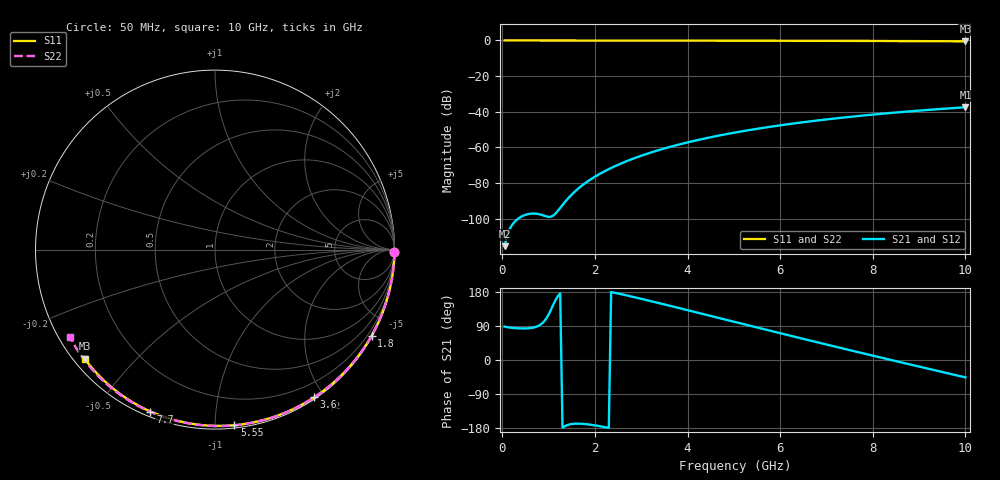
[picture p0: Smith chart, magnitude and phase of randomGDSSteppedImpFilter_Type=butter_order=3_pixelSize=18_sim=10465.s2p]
! freq	dB(S11)	phase(S11)	dB(S12)	phase(S12)
!  dB(S21)	phase(S21)	dB(S22)	phase(S22)
!S-par simulation data
#  GHz  S  DB  R 50
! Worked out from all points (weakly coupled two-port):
!   200 points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, 50 MHz to 10 GHz, reference 50 ohm
!   highest |S21| = -37.47 dB at 10 GHz (marker M1); lowest = -115.4 dB at 50 MHz (marker M2)
!   lowest |S11| = -0.5 dB at 10 GHz (marker M3), VSWR 36.72, Z = 1.54 - j18.1 ohm
!   |S11| at or under -10 dB: nowhere
!   |S22| runs from -0.5 to 0.0 dB; largest |S21 - S12| = 0
!   S11 on the Smith chart (normalised r, x): 50 MHz: open; 1.8 GHz: 0.03, -3.90; 3.6 GHz: 0.02, -1.88; 5.55 GHz: 0.02, -1.12; 7.7 GHz: 0.02, -0.68; 10 GHz: 0.03, -0.36
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0.05  -0.00 -0.8  -115.38 88.2  -115.38 88.2  -0.00 -0.9
0.45  -0.01 -7.3  -98.31 83.2  -98.31 83.2  -0.01 -7.8
0.9  -0.02 -14.5  -98.28 101.5  -98.28 101.5  -0.02 -15.5
1.3  -0.03 -20.9  -92.28 -178.5  -92.28 -178.5  -0.03 -22.3
1.75  -0.04 -28.0  -80.79 -168.6  -80.79 -168.6  -0.04 -29.8
1.8  -0.04 -28.7  -79.83 -169.2  -79.83 -169.2  -0.04 -30.6
1.95  -0.04 -31.1  -77.21 -171.5  -77.21 -171.5  -0.04 -33.1
2.1  -0.04 -33.4  -74.90 -174.6  -74.90 -174.6  -0.05 -35.6
2.3  -0.05 -36.5  -72.15 -179.3  -72.15 -179.3  -0.05 -38.9
2.5  -0.05 -39.6  -69.73 175.5  -69.73 175.5  -0.05 -42.2
2.9  -0.06 -45.7  -65.58 164.4  -65.58 164.4  -0.06 -48.6
3.4  -0.07 -53.2  -61.33 149.6  -61.33 149.6  -0.08 -56.6
3.6  -0.08 -56.1  -59.85 143.6  -59.85 143.6  -0.08 -59.7
4.3  -0.09 -66.3  -55.39 122.4  -55.39 122.4  -0.10 -70.5
5.05  -0.12 -76.8  -51.53 99.5  -51.53 99.5  -0.13 -81.7
5.55  -0.14 -83.7  -49.35 84.3  -49.35 84.3  -0.15 -88.9
6.1  -0.16 -91.1  -47.24 67.7  -47.24 67.7  -0.17 -96.7
6.7  -0.19 -99.0  -45.21 49.7  -45.21 49.7  -0.20 -105.1
7.7  -0.26 -111.7  -42.34 20.2  -42.34 20.2  -0.27 -118.6
8.35  -0.31 -119.8  -40.75 1.3  -40.75 1.3  -0.33 -127.2
9.2  -0.39 -130.3  -38.94 -23.1  -38.94 -23.1  -0.41 -138.5
10  -0.47 -140.1  -37.47 -45.9  -37.47 -45.9  -0.50 -149.1
